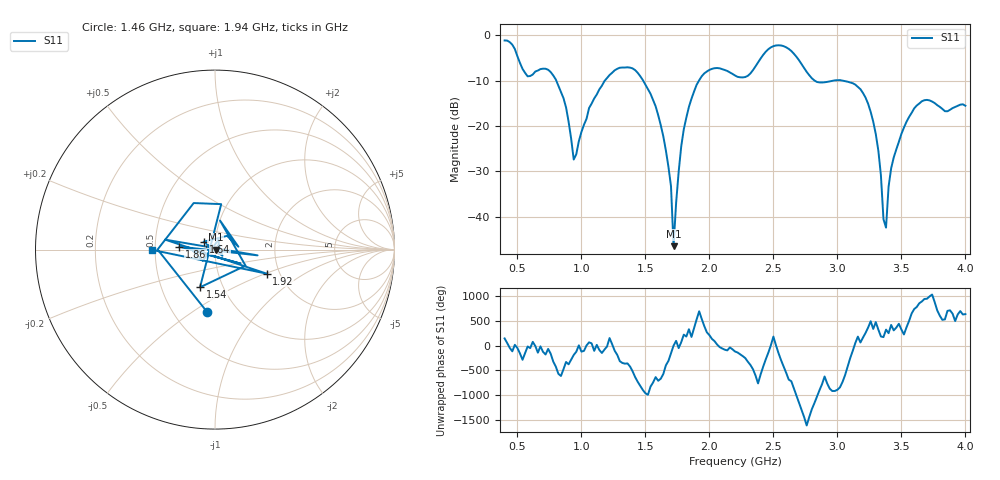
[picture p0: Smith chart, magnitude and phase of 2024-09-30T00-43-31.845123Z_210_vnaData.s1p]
!Created with skrf (http://scikit-rf.org).
# Hz S RI R 50.0
!freq ReS11 ImS11
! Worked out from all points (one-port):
!   181 points, 400 MHz to 4 GHz, reference 50 ohm
!   lowest |S11| = -46.4 dB at 1.72 GHz (marker M1), VSWR 1.01, Z = 50.5 - j0.00586 ohm
!   |S11| at or under -10 dB: 803.3 MHz to 1.184 GHz (380.5 MHz wide, 38.3 % of centre); 1.482 GHz to 1.919 GHz (437.2 MHz wide, 25.7 % of centre); 3.035 GHz to end of sweep (the widest 3 of 4)
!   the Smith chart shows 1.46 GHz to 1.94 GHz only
!   S11 on the Smith chart (normalised r, x): 1.46 GHz: 0.72, -0.58; 1.54 GHz: 0.78, -0.34; 1.64 GHz: 0.88, +0.08; 1.86 GHz: 0.67, +0.02; 1.92 GHz: 1.71, -0.51; 1.94 GHz: 0.48, -0.00
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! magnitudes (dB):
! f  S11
! 400 MHz  -1.2
! 580 MHz  -9.1
! 760 MHz  -8.1
! 860 MHz  -13.9
! 940 MHz  -27.4
! 1.06 GHz  -16.0
! 1.3 GHz  -7.2
! 1.46 GHz  -9.1
! 1.54 GHz  -12.9
! 1.64 GHz  -22.3
! 1.7 GHz  -33.2
! 1.72 GHz  -46.4
! 1.76 GHz  -30.0
! 1.86 GHz  -14.0
! 1.92 GHz  -10.0
! 1.94 GHz  -9.1
! 2.2 GHz  -8.9
! 2.5 GHz  -2.4
! 2.66 GHz  -4.1
! 2.84 GHz  -10.3
! 3.1 GHz  -10.4
! 3.28 GHz  -19.1
! 3.32 GHz  -25.4
! 3.38 GHz  -42.4
! 3.42 GHz  -29.3
! 3.56 GHz  -18.0
! 3.68 GHz  -14.3
! 4 GHz  -15.5
